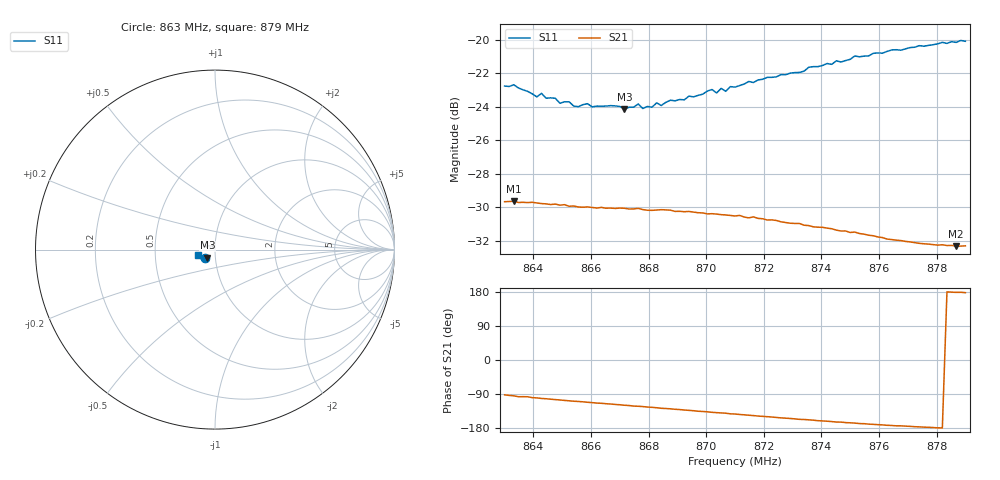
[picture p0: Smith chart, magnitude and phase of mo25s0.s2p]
# HZ S RI R 50
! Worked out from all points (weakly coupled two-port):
!   101 points, 863 MHz to 879 MHz, reference 50 ohm
!   highest |S21| = -29.65 dB at 863.32 MHz (marker M1); lowest = -32.3 dB at 878.68 MHz (marker M2)
!   lowest |S11| = -24.1 dB at 867.16 MHz (marker M3), VSWR 1.13, Z = 45.7 - j4.14 ohm
!   |S11| at or under -10 dB: start of sweep to end of sweep
!   S12 and S22 are empty: the file has one direction only
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8.63e8  -0.0565 -0.0458  -0.00114 -0.0328  0 0  0 0
8.6332e8  -0.0573 -0.0459  -0.00259 -0.0328  0 0  0 0
8.6412e8  -0.0517 -0.0433  -0.00567 -0.032  0 0  0 0
8.6428e8  -0.0547 -0.0424  -0.00642 -0.0318  0 0  0 0
8.6492e8  -0.0482 -0.0431  -0.00856 -0.0309  0 0  0 0
8.6572e8  -0.0465 -0.044  -0.011 -0.0296  0 0  0 0
8.6716e8  -0.0426 -0.0451  -0.0154 -0.0273  0 0  0 0
8.6764e8  -0.0433 -0.0476  -0.0166 -0.0266  0 0  0 0
8.678e8  -0.0419 -0.0461  -0.0169 -0.0261  0 0  0 0
8.6812e8  -0.0424 -0.0464  -0.0177 -0.0253  0 0  0 0
8.6828e8  -0.0426 -0.0488  -0.0182 -0.0251  0 0  0 0
8.6844e8  -0.0415 -0.0482  -0.0189 -0.0246  0 0  0 0
8.702e8  -0.0461 -0.054  -0.0225 -0.0202  0 0  0 0
8.7036e8  -0.0448 -0.0529  -0.0227 -0.0198  0 0  0 0
8.7052e8  -0.0469 -0.054  -0.0229 -0.0194  0 0  0 0
8.7068e8  -0.0446 -0.0542  -0.0231 -0.0191  0 0  0 0
8.7084e8  -0.048 -0.0543  -0.0235 -0.0184  0 0  0 0
8.71e8  -0.0477 -0.0542  -0.0236 -0.0181  0 0  0 0
8.7372e8  -0.0608 -0.0567  -0.0257 -0.00996  0 0  0 0
8.7644e8  -0.079 -0.0495  -0.0251 -0.00319  0 0  0 0
8.7868e8  -0.0919 -0.0347  -0.0242 0.000649  0 0  0 0
8.79e8  -0.0941 -0.0307  -0.0242 0.00097  0 0  0 0
